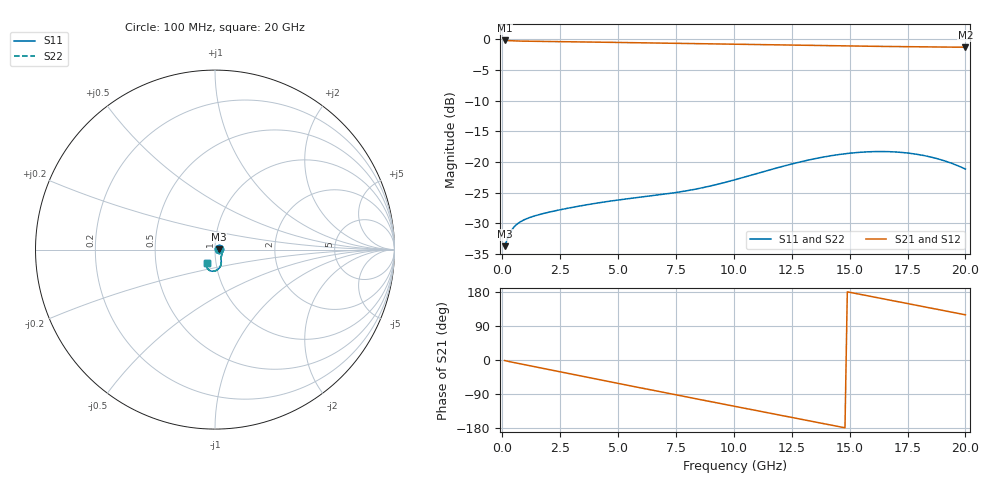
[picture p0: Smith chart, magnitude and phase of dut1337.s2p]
! Touchstone file exported from HFSS 2026.1.0
!  File:  C:/ffzhzh/LocalFiles/Ansys_Project_Files/temp_train_TSV_RDL_1337_1783338644_39728.aedt
!  Generated:  07:58:39 PM Jul  6, 2026
!  Design:  TSV_RDL
!  Project:  temp_train_TSV_RDL_1337_1783338644_39728
! Variables:
!  h_bsmrdl = 5.61um
!  h_ox = 20um
!  h_rdl = 5um
!  h_sub = 55.65um
!  h_tmrdl = 3.33um
!  h_tsv = 55.65um
!  h_via = 3um
!  l_bsmrdl = 288.78um
!  l_sub = 4036.13um
!  l_tmrdl = 662.77um
!  m_sub = 200um
!  pitch = 27.29um
!  r_tsv = 3.32um
!  s_tmrdl = 10um
!  w_bsmrdl = 14.4um
!  w_sub = 500um
!  w_tmrdl = 25.17um
!  x_tsv_center1 = 675.355um
!  x_tsv_center2 = 978.535um
!  x_tsv_center3 = 1666.475um
!  x_tsv_center4 = 1969.655um
!  x_tsv_center5 = 2657.595um
!  x_tsv_center6 = 2960.775um
# GHz S MA R 50.000000
! Terminal data exported
! Port[1] = TM_RDL1_1_T1
! Port[2] = TM_RDL5_1_T1
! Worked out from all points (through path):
!   200 points, 100 MHz to 20 GHz, reference 50 ohm
!   highest |S21| = -0.18 dB at 100 MHz (marker M1); lowest = -1.3 dB at 20 GHz (marker M2)
!   group delay of S21, straight-line fit = 33.3 ps
!   lowest |S11| = -33.7 dB at 100 MHz (marker M3), VSWR 1.04, Z = 52.1 + j0.333 ohm
!   |S11| at or under -10 dB: start of sweep to end of sweep
!   |S22| runs from -33.7 to -18.3 dB; largest |S21 - S12| = 1.1e-13
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0.1  0.02055 9.0  0.9798 -1.4  0.9798 -1.4  0.02055 9.0
! Gamma 0 0 0 0
! Port Impedance 50 0 50 0
0.4  0.02769 13.3  0.9735 -5.4  0.9735 -5.4  0.02769 13.3
0.6  0.03066 10.0  0.9702 -7.9  0.9702 -7.9  0.03066 10.0
0.9  0.0334 5.1  0.9672 -11.6  0.9672 -11.6  0.03342 5.0
2.2  0.03962 -12.6  0.9601 -27.5  0.9601 -27.5  0.03973 -12.6
3.5  0.04423 -27.1  0.953 -43.5  0.953 -43.5  0.04448 -27.2
4.4  0.04713 -35.8  0.9475 -54.4  0.9475 -54.4  0.04749 -35.9
5.2  0.04946 -42.4  0.9424 -64.2  0.9424 -64.2  0.04994 -42.6
6  0.05166 -47.8  0.9372 -73.8  0.9372 -73.8  0.05223 -48.1
6.8  0.05394 -51.9  0.9319 -83.5  0.9319 -83.5  0.05459 -52.3
7.6  0.05667 -54.9  0.9266 -93.1  0.9266 -93.1  0.05736 -55.4
8.4  0.06026 -57.0  0.9214 -102.7  0.9214 -102.7  0.06095 -57.6
9.2  0.06504 -58.8  0.9163 -112.3  0.9163 -112.3  0.06568 -59.5
10.1  0.072 -61.0  0.9108 -123.0  0.9108 -123.0  0.07255 -61.7
11.8  0.08875 -67.6  0.9006 -143.3  0.9006 -143.3  0.08909 -68.2
13.4  0.1053 -76.9  0.8914 -162.3  0.8914 -162.3  0.1055 -77.3
14.2  0.1124 -82.4  0.8871 -171.8  0.8871 -171.8  0.1126 -82.8
15  0.1178 -88.4  0.8828 178.7  0.8828 178.7  0.1179 -88.6
15.8  0.1209 -94.5  0.8788 169.2  0.8788 169.2  0.1211 -94.5
16.7  0.1213 -101.4  0.8747 158.6  0.8747 158.6  0.1215 -101.3
18.3  0.1118 -112.7  0.8683 139.5  0.8683 139.5  0.1123 -112.4
20  0.08745 -119.9  0.8628 119.2  0.8628 119.2  0.08839 -119.1
